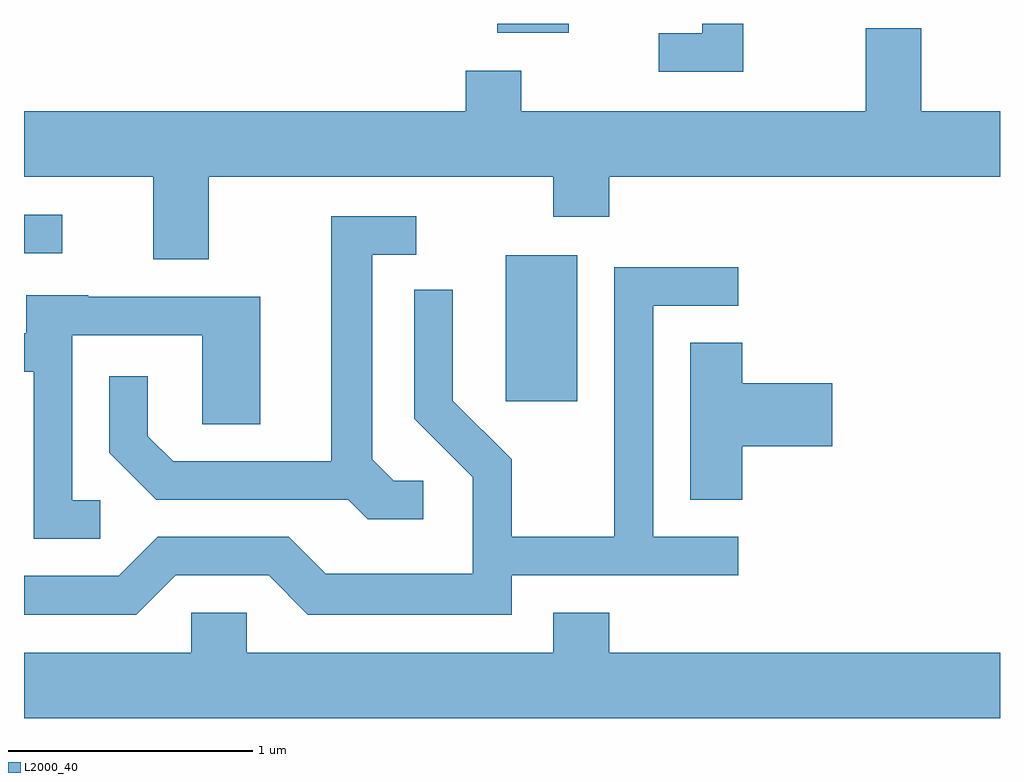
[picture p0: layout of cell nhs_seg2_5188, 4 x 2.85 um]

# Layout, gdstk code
import gdstk
lib = gdstk.Library(unit=1e-6, precision=1e-09)
def R(c, l, rs):  # rectangles x0, y0, x1, y1
    for r in rs: c.add(gdstk.rectangle(r[:2], r[2:], *l))
def P(c, l, *ps):  # polygons
    for p in ps: c.add(gdstk.Polygon(p, *l))
L2000_40 = (2000, 40)

nhs_seg2_5188 = lib.new_cell('nhs_seg2_5188')
R(nhs_seg2_5188, L2000_40, [(339.586,1076.256,339.879,1076.854), (337.611,1076.861,337.768,1077.019), (339.551,1077.766,339.844,1077.802)])
P(nhs_seg2_5188, L2000_40, [(340.559,1077.802),(340.391,1077.802),(340.391,1077.764),(340.213,1077.764),(340.213,1077.606),(340.559,1077.606)],
  [(338.369,1077.176),(339.781,1077.176),(339.781,1077.011),(340.009,1077.011),(340.009,1077.176),(341.611,1077.176),(341.611,1077.444),(341.289,1077.444),(341.289,1077.784),(341.061,1077.784),(341.061,1077.444),(339.649,1077.444),(339.649,1077.609),(339.421,1077.609),(339.421,1077.444),(337.611,1077.444),(337.611,1077.176),(338.141,1077.176),(338.141,1076.836),(338.369,1076.836)],
  [(339.248,1075.929),(339.127,1075.929),(339.039,1076.017),(339.039,1076.856),(339.218,1076.856),(339.218,1077.014),(338.871,1077.014),(338.871,1076.009),(338.222,1076.009),(338.119,1076.112),(338.119,1076.358),(337.961,1076.358),(337.961,1076.044),(338.154,1075.851),(338.939,1075.851),(339.019,1075.771),(339.248,1075.771)],
  [(338.232,1075.541),(338.614,1075.541),(338.774,1075.381),(339.609,1075.381),(339.609,1075.541),(340.538,1075.541),(340.538,1075.699),(340.189,1075.699),(340.189,1076.646),(340.538,1076.646),(340.538,1076.804),(340.031,1076.804),(340.031,1075.699),(339.609,1075.699),(339.609,1076.017),(339.369,1076.257),(339.369,1076.713),(339.211,1076.713),(339.211,1076.184),(339.451,1075.944),(339.451,1075.549),(338.847,1075.549),(338.697,1075.699),(338.159,1075.699),(337.999,1075.539),(337.611,1075.539),(337.611,1075.381),(338.072,1075.381)],
  [(337.923,1075.849),(337.809,1075.849),(337.809,1076.526),(338.341,1076.526),(338.341,1076.161),(338.579,1076.161),(338.579,1076.684),(337.875,1076.684),(337.875,1076.689),(337.621,1076.689),(337.621,1076.534),(337.611,1076.534),(337.611,1076.376),(337.651,1076.376),(337.651,1075.691),(337.923,1075.691)],
  [(340.554,1076.071),(340.924,1076.071),(340.924,1076.329),(340.554,1076.329),(340.554,1076.494),(340.341,1076.494),(340.341,1075.851),(340.554,1075.851)],
  [(341.611,1075.224),(340.009,1075.224),(340.009,1075.389),(339.781,1075.389),(339.781,1075.224),(338.524,1075.224),(338.524,1075.389),(338.296,1075.389),(338.296,1075.224),(337.611,1075.224),(337.611,1074.956),(341.611,1074.956)])

lib.write_gds('nhs_seg2_5188.gds')
